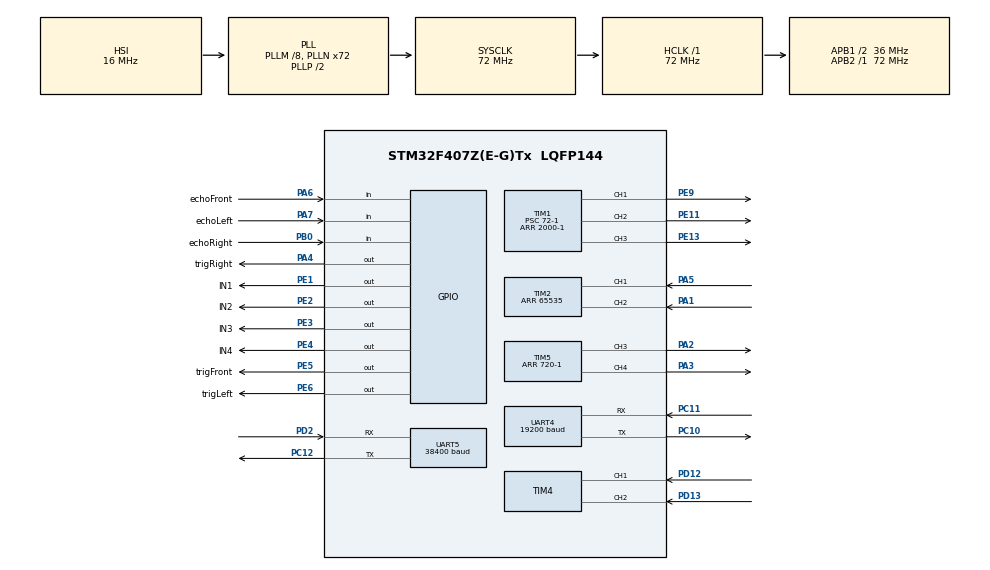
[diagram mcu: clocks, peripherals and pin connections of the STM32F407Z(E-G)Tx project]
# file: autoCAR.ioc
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Dma.Request0=UART5_RX
Dma.Request1=UART5_TX
Dma.Request2=UART4_RX
Dma.Request3=UART4_TX
Dma.UART4_RX.2.Direction=DMA_PERIPH_TO_MEMORY
Dma.UART4_RX.2.FIFOMode=DMA_FIFOMODE_DISABLE
Dma.UART4_RX.2.Instance=DMA1_Stream2
Dma.UART4_RX.2.MemDataAlignment=DMA_MDATAALIGN_BYTE
Dma.UART4_RX.2.MemInc=DMA_MINC_ENABLE
Dma.UART4_RX.2.Mode=DMA_NORMAL
Dma.UART4_RX.2.PeriphDataAlignment=DMA_PDATAALIGN_BYTE
Dma.UART4_RX.2.PeriphInc=DMA_PINC_DISABLE
Dma.UART4_RX.2.Priority=DMA_PRIORITY_LOW
Dma.UART4_TX.3.Direction=DMA_MEMORY_TO_PERIPH
Dma.UART4_TX.3.FIFOMode=DMA_FIFOMODE_DISABLE
Dma.UART4_TX.3.Instance=DMA1_Stream4
Dma.UART4_TX.3.MemDataAlignment=DMA_MDATAALIGN_BYTE
Dma.UART4_TX.3.MemInc=DMA_MINC_ENABLE
Dma.UART4_TX.3.Mode=DMA_NORMAL
Dma.UART4_TX.3.PeriphDataAlignment=DMA_PDATAALIGN_BYTE
Dma.UART4_TX.3.PeriphInc=DMA_PINC_DISABLE
Dma.UART4_TX.3.Priority=DMA_PRIORITY_LOW
Dma.UART5_RX.0.Direction=DMA_PERIPH_TO_MEMORY
Dma.UART5_RX.0.FIFOMode=DMA_FIFOMODE_DISABLE
Dma.UART5_RX.0.Instance=DMA1_Stream0
Dma.UART5_RX.0.MemDataAlignment=DMA_MDATAALIGN_BYTE
Dma.UART5_RX.0.MemInc=DMA_MINC_ENABLE
Dma.UART5_RX.0.Mode=DMA_NORMAL
Dma.UART5_RX.0.PeriphDataAlignment=DMA_PDATAALIGN_BYTE
Dma.UART5_RX.0.PeriphInc=DMA_PINC_DISABLE
Dma.UART5_RX.0.Priority=DMA_PRIORITY_LOW
Dma.UART5_TX.1.Direction=DMA_MEMORY_TO_PERIPH
Dma.UART5_TX.1.FIFOMode=DMA_FIFOMODE_DISABLE
Dma.UART5_TX.1.Instance=DMA1_Stream7
Dma.UART5_TX.1.MemDataAlignment=DMA_MDATAALIGN_BYTE
Dma.UART5_TX.1.MemInc=DMA_MINC_ENABLE
Dma.UART5_TX.1.Mode=DMA_NORMAL
Dma.UART5_TX.1.PeriphDataAlignment=DMA_PDATAALIGN_BYTE
Dma.UART5_TX.1.PeriphInc=DMA_PINC_DISABLE
Dma.UART5_TX.1.Priority=DMA_PRIORITY_LOW
IWDG.Prescaler=IWDG_PRESCALER_32
IWDG.Reload=1000-1
Mcu.Family=STM32F4
Mcu.Name=STM32F407Z(E-G)Tx
Mcu.Package=LQFP144
NVIC.DMA1_Stream0_IRQn=true\:0\:0\:false\:false\:true\:false\:true\:true
NVIC.DMA1_Stream2_IRQn=true\:0\:0\:false\:false\:true\:false\:true\:true
NVIC.DMA1_Stream4_IRQn=true\:0\:0\:false\:false\:true\:false\:true\:true
NVIC.DMA1_Stream7_IRQn=true\:0\:0\:false\:false\:true\:false\:true\:true
NVIC.PriorityGroup=NVIC_PRIORITYGROUP_4
NVIC.TIM7_IRQn=true\:2\:0\:true\:false\:true\:true\:true\:true
NVIC.TIM8_BRK_TIM12_IRQn=true\:3\:0\:true\:false\:true\:true\:true\:true
NVIC.UART4_IRQn=true\:1\:0\:true\:false\:true\:true\:true\:true
NVIC.UART5_IRQn=true\:0\:0\:true\:false\:true\:true\:true\:true
PA1.Signal=S_TIM2_CH2
PA13.Mode=Serial_Wire
PA13.Signal=SYS_JTMS-SWDIO
PA14.Mode=Serial_Wire
PA14.Signal=SYS_JTCK-SWCLK
PA2.Signal=S_TIM5_CH3
PA3.Signal=S_TIM5_CH4
PA4.GPIO_Label=trigRight
PA4.Signal=GPIO_Output
PA5.Signal=S_TIM2_CH1_ETR
PA6.GPIO_Label=echoFront
PA6.Signal=GPIO_Input
PA7.GPIO_Label=echoLeft
PA7.Signal=GPIO_Input
PB0.GPIO_Label=echoRight
PB0.Signal=GPIO_Input
PC10.Mode=Asynchronous
PC10.Signal=UART4_TX
PC11.Mode=Asynchronous
PC11.Signal=UART4_RX
PC12.Mode=Asynchronous
PC12.Signal=UART5_TX
PD12.Signal=S_TIM4_CH1
PD13.Signal=S_TIM4_CH2
PD2.Mode=Asynchronous
PD2.Signal=UART5_RX
PE1.GPIO_Label=IN1
PE1.Signal=GPIO_Output
PE11.Signal=S_TIM1_CH2
PE13.Signal=S_TIM1_CH3
PE2.GPIO_Label=IN2
PE2.Signal=GPIO_Output
PE3.GPIO_Label=IN3
PE3.Signal=GPIO_Output
PE4.GPIO_Label=IN4
PE4.Signal=GPIO_Output
PE5.GPIO_Label=trigFront
PE5.Signal=GPIO_Output
PE6.GPIO_Label=trigLeft
PE6.Signal=GPIO_Output
PE9.Signal=S_TIM1_CH1
ProjectManager.HeapSize=0x200
ProjectManager.StackSize=0x400
ProjectManager.TargetToolchain=STM32CubeIDE
RCC.48MHZClocksFreq_Value=36000000
RCC.AHBFreq_Value=72000000
RCC.APB1CLKDivider=RCC_HCLK_DIV2
RCC.APB1Freq_Value=36000000
RCC.APB1TimFreq_Value=72000000
RCC.APB2Freq_Value=72000000
RCC.APB2TimFreq_Value=72000000
RCC.CortexFreq_Value=72000000
RCC.HCLKFreq_Value=72000000
RCC.HSE_VALUE=25000000
RCC.HSI_VALUE=16000000
RCC.LSE_VALUE=32768
RCC.PLLM=8
RCC.PLLN=72
RCC.SYSCLKFreq_VALUE=72000000
RCC.SYSCLKSource=RCC_SYSCLKSOURCE_PLLCLK
RCC.VCOOutputFreq_Value=144000000
SH.S_TIM1_CH1.0=TIM1_CH1,PWM Generation1 CH1
SH.S_TIM1_CH2.0=TIM1_CH2,PWM Generation2 CH2
SH.S_TIM1_CH3.0=TIM1_CH3,PWM Generation3 CH3
SH.S_TIM2_CH1_ETR.0=TIM2_CH1,Encoder_Interface
SH.S_TIM2_CH2.0=TIM2_CH2,Encoder_Interface
SH.S_TIM4_CH1.0=TIM4_CH1,Encoder_Interface
SH.S_TIM4_CH2.0=TIM4_CH2,Encoder_Interface
SH.S_TIM5_CH3.0=TIM5_CH3,PWM Generation3 CH3
SH.S_TIM5_CH4.0=TIM5_CH4,PWM Generation4 CH4
TIM1.AutoReloadPreload=TIM_AUTORELOAD_PRELOAD_ENABLE
TIM1.Channel-PWM\ Generation1\ CH1=TIM_CHANNEL_1
TIM1.Channel-PWM\ Generation2\ CH2=TIM_CHANNEL_2
TIM1.Channel-PWM\ Generation3\ CH3=TIM_CHANNEL_3
TIM1.Period=2000-1
TIM1.Prescaler=72-1
TIM10.Prescaler=72-1
TIM12.AutoReloadPreload=TIM_AUTORELOAD_PRELOAD_ENABLE
TIM12.Period=20000-1
TIM12.Prescaler=7200-1
TIM2.AutoReloadPreload=TIM_AUTORELOAD_PRELOAD_ENABLE
TIM2.EncoderMode=TIM_ENCODERMODE_TI12
TIM2.Period=65535
TIM3.Period=65535
TIM3.Prescaler=72-1
TIM4.AutoReloadPreload=TIM_AUTORELOAD_PRELOAD_ENABLE
TIM4.EncoderMode=TIM_ENCODERMODE_TI12
TIM5.AutoReloadPreload=TIM_AUTORELOAD_PRELOAD_ENABLE
TIM5.Channel-PWM\ Generation3\ CH3=TIM_CHANNEL_3
TIM5.Channel-PWM\ Generation4\ CH4=TIM_CHANNEL_4
TIM5.Period=720-1
TIM6.AutoReloadPreload=TIM_AUTORELOAD_PRELOAD_ENABLE
TIM6.Period=9999
TIM6.Prescaler=7200-1
TIM7.AutoReloadPreload=TIM_AUTORELOAD_PRELOAD_ENABLE
TIM7.Period=500-1
TIM7.Prescaler=7200-1
TIM8.AutoReloadPreload=TIM_AUTORELOAD_PRELOAD_ENABLE
TIM8.Period=720-1
UART4.BaudRate=19200
UART4.VirtualMode=Asynchronous
UART5.BaudRate=38400
UART5.VirtualMode=Asynchronous
VP_IWDG_VS_IWDG.Mode=IWDG_Activate
VP_TIM10_VS_ClockSourceINT.Mode=Enable_Timer
VP_TIM12_VS_ClockSourceINT.Mode=Internal
VP_TIM1_VS_ClockSourceINT.Mode=Internal
VP_TIM3_VS_ClockSourceINT.Mode=Internal
VP_TIM5_VS_ClockSourceINT.Mode=Internal
VP_TIM6_VS_ClockSourceINT.Mode=Enable_Timer
VP_TIM7_VS_ClockSourceINT.Mode=Enable_Timer
VP_TIM8_VS_ClockSourceINT.Mode=Internal
board=custom

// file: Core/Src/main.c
/* USER CODE BEGIN Header */
/**
  ******************************************************************************
  * @file           : main.c
  * @brief          : Main program body
  ******************************************************************************
  * @attention
  *
  * Copyright (c) 2024 STMicroelectronics.
  * All rights reserved.
  *
  * This software is licensed under terms that can be found in the LICENSE file
  * in the root directory of this software component.
  * If no LICENSE file comes with this software, it is provided AS-IS.
  *
  ******************************************************************************
  */
/* USER CODE END Header */
#include "main.h"
#include "dma.h"
#include "iwdg.h"
#include "tim.h"
#include "usart.h"
#include "gpio.h"

/* USER CODE BEGIN Includes */
#include "motor.h"
#include "ultraSonic.h"
#include "timersInit.h"
#include "string.h"
#include "servo.h"
extern int float_to_uint8_arry(uint8_t* u8Arry, float floatdata, int precision);
extern float uint8_to_float(uint8_t* u8arry, int point_length);
/* USER CODE END Includes */

/* USER CODE BEGIN PV */
float rpmRight=0,rpmLeft=0,deriSpeed=0,centralSpeed;
uint8_t rxDataBT[50];
uint8_t rxDataOp[50];
int countnum_rightcircuance=0;
int countnum_leftcircuance=0;
float currentLeft=0,currentRight=0;
extern int pulseLeft,pulseRight;
extern int ultraLoop;int mode=0;
extern uint8_t cRt[256];
float craw_state=0,is_crawed=0,is_put=0;
/* USER CODE END PV */

void SystemClock_Config(void);

int main(void)
{

  /* MCU Configuration--------------------------------------------------------*/

  /* Reset of all peripherals, Initializes the Flash interface and the Systick. */
  HAL_Init();

  /* Configure the system clock */
  SystemClock_Config();

  /* Initialize all configured peripherals */
  MX_GPIO_Init();
  MX_DMA_Init();
  MX_TIM2_Init();
  MX_TIM4_Init();
  MX_TIM5_Init();
  MX_TIM1_Init();
  MX_UART5_Init();
  MX_UART4_Init();
  MX_TIM7_Init();
  MX_TIM3_Init();
  MX_TIM8_Init();
  MX_TIM6_Init();
  MX_TIM10_Init();
  MX_TIM12_Init();
  //MX_IWDG_Init();
  /* USER CODE BEGIN 2 */
  	/*HAL_TIM_PWM_Start(&htim5, TIM_CHANNEL_ALL);//�?????????????????启电机PWM，最�?????????????????255
  	HAL_TIM_PWM_Start(&htim1, TIM_CHANNEL_ALL);//�?????????????????启舵机PWM，最�?????????????????1999
  	HAL_TIM_Encoder_Start(&htim2, TIM_CHANNEL_ALL);//左轮编码�?????????????????
  	HAL_TIM_Encoder_Start(&htim4, TIM_CHANNEL_ALL);//右轮编码�?????????????????
  	HAL_TIM_Base_Start_IT(&htim7);//中断定时器，50ms�?????????????????次中�?????????????????*/

  //turning_theta_Servo2=Servo2_init(turning_theta_Servo2);

  //turning_theta_Servo2=Servo2_puting(turning_theta_Servo2);

  //turning_theta_Servo1=Servo1_craw(turning_theta_Servo1);

  //turning_theta_Servo2=Servo2_driving(turning_theta_Servo2);

  /*turning_theta_Servo3=Servo3_init(turning_theta_Servo3);*/
  timersInit();
  __HAL_TIM_SET_COUNTER(&htim2,32768);
   __HAL_TIM_SET_COUNTER(&htim4,32768);
   //float turning_theta_Servo1=50;
   //float turning_theta_Servo2=25;
  // float turning_theta_Servo3=55;
   //turning_theta_Servo1=Servo1_init(turning_theta_Servo1);
   //turning_theta_Servo2=Servo2_init(turning_theta_Servo2);

   //craw_up_trail(1);

   //put_down_trail(1);
  HAL_UARTEx_ReceiveToIdle_DMA(&huart5, rxDataBT, sizeof rxDataBT);
  HAL_UARTEx_ReceiveToIdle_DMA(&huart4, rxDataOp, sizeof rxDataOp);
  //Servo_turn(2,60,25);
  //Servo_turn(1,120,25);
  /* USER CODE END 2 */

  /* Infinite loop */
  /* USER CODE BEGIN WHILE */
  while (1)
  {
	  setLeftPWM(pulseLeft,TIM_CHANNEL_3);
	  setRightPWM(pulseRight,TIM_CHANNEL_4);
	  if(craw_state==1){
		  is_crawed=craw_up_trail(1);//if_crow==1时，调用循迹时的程序；if_crow==2时，调用避障时的程序
	  }
	  else if(craw_state==2){
		  //if_crow==1时，调用循迹时的程序；if_crow==2时，调用避障时的程序
		  is_put=put_down_trail(1);
	  }

	  if (is_crawed==1){
		  //setSpin(20, 'F');
		  centralSpeed = 60;
		  rpmLeft=rpmRight=centralSpeed;
		  mode=1;
		  is_crawed=0;

	  }else if (is_put==1){
		  is_put=0;
	  }
	  /*
	  turning_theta_Servo1=Servo1_craw(turning_theta_Servo1);
	  turning_theta_Servo2=Servo2_driving(turning_theta_Servo2);
	  turning_theta_Servo1=Servo1_put(turning_theta_Servo1);
	  turning_theta_Servo2=Servo2_puting(turning_theta_Servo2);                                                                                                                                                                                                                                  	  setLeftPWM(pulseLeft,TIM_CHANNEL_3);
	  setRightPWM(pulseRight,TIM_CHANNEL_4);*/
	  if (ultraLoop==0){
	  	distanceFront=MeasureDistance(&ultraSonicFront);
	  }else if(ultraLoop==1){
	  	 distanceLeft=MeasureDistance(&ultraSonicLeft);
	  }else if (ultraLoop==2){
	  	 distanceRight=MeasureDistance(&ultraSonicRight);
}
	  if (ultraLoop<3){ultraLoop++;}
	  else{ultraLoop=0;}
    /* USER CODE END WHILE */

  }
}

void SystemClock_Config(void)
{
  RCC_OscInitTypeDef RCC_OscInitStruct = {0};
  RCC_ClkInitTypeDef RCC_ClkInitStruct = {0};

  /** Configure the main internal regulator output voltage
  */
  __HAL_RCC_PWR_CLK_ENABLE();
  __HAL_PWR_VOLTAGESCALING_CONFIG(PWR_REGULATOR_VOLTAGE_SCALE1);

  /** Initializes the RCC Oscillators according to the specified parameters
  * in the RCC_OscInitTypeDef structure.
  */
  RCC_OscInitStruct.OscillatorType = RCC_OSCILLATORTYPE_HSI|RCC_OSCILLATORTYPE_LSI;
  RCC_OscInitStruct.HSIState = RCC_HSI_ON;
  RCC_OscInitStruct.HSICalibrationValue = RCC_HSICALIBRATION_DEFAULT;
  RCC_OscInitStruct.LSIState = RCC_LSI_ON;
  RCC_OscInitStruct.PLL.PLLState = RCC_PLL_ON;
  RCC_OscInitStruct.PLL.PLLSource = RCC_PLLSOURCE_HSI;
  RCC_OscInitStruct.PLL.PLLM = 8;
  RCC_OscInitStruct.PLL.PLLN = 72;
  RCC_OscInitStruct.PLL.PLLP = RCC_PLLP_DIV2;
  RCC_OscInitStruct.PLL.PLLQ = 4;
  if (HAL_RCC_OscConfig(&RCC_OscInitStruct) != HAL_OK)
  {
    Error_Handler();
  }

  /** Initializes the CPU, AHB and APB buses clocks
  */
  RCC_ClkInitStruct.ClockType = RCC_CLOCKTYPE_HCLK|RCC_CLOCKTYPE_SYSCLK
                              |RCC_CLOCKTYPE_PCLK1|RCC_CLOCKTYPE_PCLK2;
  RCC_ClkInitStruct.SYSCLKSource = RCC_SYSCLKSOURCE_PLLCLK;
  RCC_ClkInitStruct.AHBCLKDivider = RCC_SYSCLK_DIV1;
  RCC_ClkInitStruct.APB1CLKDivider = RCC_HCLK_DIV2;
  RCC_ClkInitStruct.APB2CLKDivider = RCC_HCLK_DIV1;

  if (HAL_RCC_ClockConfig(&RCC_ClkInitStruct, FLASH_LATENCY_2) != HAL_OK)
  {
    Error_Handler();
  }
}

void Error_Handler(void)
{
  __disable_irq();
  while (1)
  {
  }
}
